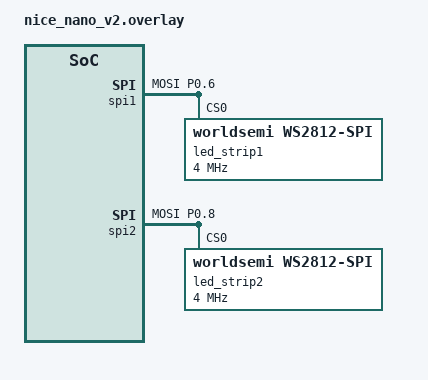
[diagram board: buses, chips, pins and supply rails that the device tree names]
#include <dt-bindings/led/led.h>

&pinctrl {
    spi1_default: spi1_default {
        group1 {
            psels = <NRF_PSEL(SPIM_MOSI, 0, 6)>;
        };
    };

    spi1_sleep: spi1_sleep {
        group1 {
            psels = <NRF_PSEL(SPIM_MOSI, 0, 6)>;
            low-power-enable;
        };
    };

    spi2_default: spi2_default {
        group1 {
            psels = <NRF_PSEL(SPIM_MOSI, 0, 8)>;
        };
    };

    spi2_sleep: spi2_sleep {
        group1 {
            psels = <NRF_PSEL(SPIM_MOSI, 0, 8)>;
            low-power-enable;
        };
    };

};

&spi1 {
    compatible = "nordic,nrf-spim";
    status = "okay";

    pinctrl-0 = <&spi1_default>;
    pinctrl-1 = <&spi1_sleep>;
    pinctrl-names = "default", "sleep";

    led_strip1: ws2812@0 {
        compatible = "worldsemi,ws2812-spi";

        /* SPI */
        reg = <0>; /* ignored, but necessary for SPI bindings */
        spi-max-frequency = <4000000>;

        /* WS2812 */
        chain-length = <3>; /* arbitrary; change at will */
        spi-one-frame = <0x70>;
        spi-zero-frame = <0x40>;

        color-mapping = <LED_COLOR_ID_GREEN LED_COLOR_ID_RED LED_COLOR_ID_BLUE>;
    };
};

&spi2 {
    compatible = "nordic,nrf-spim";
    status = "okay";

    pinctrl-0 = <&spi2_default>;
    pinctrl-1 = <&spi2_sleep>;
    pinctrl-names = "default", "sleep";

    led_strip2: ws2812@0 {
        compatible = "worldsemi,ws2812-spi";

        /* SPI */
        reg = <0>; /* ignored, but necessary for SPI bindings */
        spi-max-frequency = <4000000>;

        /* WS2812 */
        chain-length = <2>; /* arbitrary; change at will */
        spi-one-frame = <0x70>;
        spi-zero-frame = <0x40>;

        color-mapping = <LED_COLOR_ID_GREEN LED_COLOR_ID_RED LED_COLOR_ID_BLUE>;
    };
};

/ {
    chosen {
        zmk,underglow = &led_strip1;
    };
};
